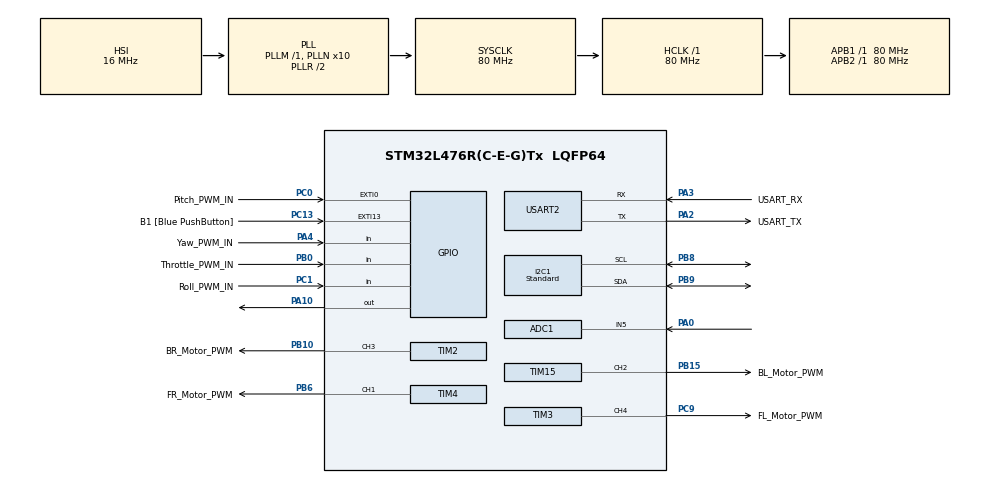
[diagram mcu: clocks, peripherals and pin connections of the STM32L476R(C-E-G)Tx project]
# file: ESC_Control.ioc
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ADC1.Channel-2\#ChannelRegularConversion=ADC_CHANNEL_5
ADC1.NbrOfConversionFlag=1
ADC1.OffsetNumber-2\#ChannelRegularConversion=ADC_OFFSET_NONE
ADC1.Rank-2\#ChannelRegularConversion=1
ADC1.SamplingTime-2\#ChannelRegularConversion=ADC_SAMPLETIME_2CYCLES_5
ADC1.master=1
I2C1.CustomTiming=Disabled
I2C1.I2C_Speed_Mode=I2C_Standard
I2C1.Speed=100
I2C1.Timing=0x10909CEC
Mcu.Family=STM32L4
Mcu.Name=STM32L476R(C-E-G)Tx
Mcu.Package=LQFP64
NVIC.EXTI0_IRQn=true\:0\:0\:false\:false\:true\:true\:true\:true
NVIC.PriorityGroup=NVIC_PRIORITYGROUP_4
NVIC.TIM3_IRQn=true\:0\:0\:false\:false\:true\:true\:true\:true
PA0.Signal=ADCx_IN5
PA10.Signal=GPIO_Output
PA13\ (JTMS-SWDIO).GPIO_Label=TMS
PA13\ (JTMS-SWDIO).Mode=Serial_Wire
PA13\ (JTMS-SWDIO).Signal=SYS_JTMS-SWDIO
PA14\ (JTCK-SWCLK).GPIO_Label=TCK
PA14\ (JTCK-SWCLK).Mode=Serial_Wire
PA14\ (JTCK-SWCLK).Signal=SYS_JTCK-SWCLK
PA2.GPIO_Label=USART_TX
PA2.GPIO_Mode=GPIO_MODE_AF_PP
PA2.GPIO_PuPd=GPIO_NOPULL
PA2.GPIO_Speed=GPIO_SPEED_FREQ_VERY_HIGH
PA2.Mode=Asynchronous
PA2.Signal=USART2_TX
PA3.GPIO_Label=USART_RX
PA3.GPIO_Mode=GPIO_MODE_AF_PP
PA3.GPIO_PuPd=GPIO_NOPULL
PA3.GPIO_Speed=GPIO_SPEED_FREQ_VERY_HIGH
PA3.Mode=Asynchronous
PA3.Signal=USART2_RX
PA4.GPIO_Label=Yaw_PWM_IN
PA4.Signal=GPIO_Input
PB0.GPIO_Label=Throttle_PWM_IN
PB0.Signal=GPIO_Input
PB10.GPIO_Label=BR_Motor_PWM
PB10.Signal=S_TIM2_CH3
PB15.GPIO_Label=BL_Motor_PWM
PB15.Signal=S_TIM15_CH2
PB3\ (JTDO-TRACESWO).GPIO_Label=SWO
PB3\ (JTDO-TRACESWO).Signal=SYS_JTDO-SWO
PB6.GPIO_Label=FR_Motor_PWM
PB6.Signal=S_TIM4_CH1
PB8.GPIO_FM8=SYSCFG_FASTMODEPLUS_PB8
PB8.GPIO_Pu=GPIO_PULLUP
PB8.Mode=I2C
PB8.Signal=I2C1_SCL
PB9.GPIO_FM9=SYSCFG_FASTMODEPLUS_PB9
PB9.GPIO_Pu=GPIO_PULLUP
PB9.Mode=I2C
PB9.Signal=I2C1_SDA
PC0.GPIO_Label=Pitch_PWM_IN
PC0.Signal=GPXTI0
PC1.GPIO_Label=Roll_PWM_IN
PC1.Signal=GPIO_Input
PC13.GPIO_Label=B1 [Blue PushButton]
PC13.GPIO_ModeDefaultEXTI=GPIO_MODE_IT_FALLING
PC13.GPIO_PuPd=GPIO_NOPULL
PC13.Signal=GPXTI13
PC14-OSC32_IN\ (PC14).Mode=LSE-External-Oscillator
PC14-OSC32_IN\ (PC14).Signal=RCC_OSC32_IN
PC15-OSC32_OUT\ (PC15).Mode=LSE-External-Oscillator
PC15-OSC32_OUT\ (PC15).Signal=RCC_OSC32_OUT
PC9.GPIO_Label=FL_Motor_PWM
PC9.Signal=S_TIM3_CH4
PH0-OSC_IN\ (PH0).Signal=RCC_OSC_IN
PH1-OSC_OUT\ (PH1).Signal=RCC_OSC_OUT
ProjectManager.HeapSize=0x200
ProjectManager.StackSize=0x400
ProjectManager.TargetToolchain=STM32CubeIDE
RCC.ADCFreq_Value=64000000
RCC.AHBFreq_Value=80000000
RCC.APB1Freq_Value=80000000
RCC.APB1TimFreq_Value=80000000
RCC.APB2Freq_Value=80000000
RCC.APB2TimFreq_Value=80000000
RCC.CortexFreq_Value=80000000
RCC.HCLKFreq_Value=80000000
RCC.HSE_VALUE=8000000
RCC.HSI_VALUE=16000000
RCC.MSI_VALUE=4000000
RCC.PLLN=10
RCC.PLLSourceVirtual=RCC_PLLSOURCE_HSI
RCC.PREFETCH_ENABLE=1
RCC.SYSCLKFreq_VALUE=80000000
RCC.SYSCLKSource=RCC_SYSCLKSOURCE_PLLCLK
RCC.USBFreq_Value=64000000
RCC.VCOOutputFreq_Value=160000000
SH.ADCx_IN5.0=ADC1_IN5,IN5-Single-Ended
SH.S_TIM15_CH2.0=TIM15_CH2,PWM Generation2 CH2
SH.S_TIM2_CH3.0=TIM2_CH3,PWM Generation3 CH3
SH.S_TIM3_CH4.0=TIM3_CH4,PWM Generation4 CH4
SH.S_TIM4_CH1.0=TIM4_CH1,PWM Generation1 CH1
TIM15.Channel-PWM\ Generation2\ CH2=TIM_CHANNEL_2
TIM15.Period=1600-1
TIM15.Prescaler=1000-1
TIM15.Pulse-PWM\ Generation2\ CH2=145
TIM16.AutoReloadPreload=TIM_AUTORELOAD_PRELOAD_ENABLE
TIM16.Period=3200-1
TIM16.Prescaler=100-1
TIM2.AutoReloadPreload=TIM_AUTORELOAD_PRELOAD_ENABLE
TIM2.Channel-PWM\ Generation3\ CH3=TIM_CHANNEL_3
TIM2.Period=1600-1
TIM2.Prescaler=1000-1
TIM2.Pulse-PWM\ Generation3\ CH3=30
TIM3.AutoReloadPreload=TIM_AUTORELOAD_PRELOAD_ENABLE
TIM3.Channel-PWM\ Generation4\ CH4=TIM_CHANNEL_4
TIM3.Period=1600-1
TIM3.Prescaler=1000-1
TIM3.Pulse-PWM\ Generation4\ CH4=60
TIM4.AutoReloadPreload=TIM_AUTORELOAD_PRELOAD_ENABLE
TIM4.Channel-PWM\ Generation1\ CH1=TIM_CHANNEL_1
TIM4.ClockDivision=TIM_CLOCKDIVISION_DIV1
TIM4.Period=1600-1
TIM4.Prescaler=1000-1
TIM4.Pulse-PWM\ Generation1\ CH1=120
TIM6.AutoReloadPreload=TIM_AUTORELOAD_PRELOAD_DISABLE
TIM6.Period=1600-1
TIM6.Prescaler=1000-1
USART2.VirtualMode-Asynchronous=VM_ASYNC
VP_TIM16_VS_ClockSourceINT.Mode=Enable_Timer
VP_TIM2_VS_ClockSourceINT.Mode=Internal
VP_TIM3_VS_ClockSourceINT.Mode=Internal
VP_TIM6_VS_ClockSourceINT.Mode=Enable_Timer
VP_TIM8_VS_ClockSourceINT.Mode=Internal
VP_TIM8_VS_ClockSourceITR.Mode=TriggerSource_ITR0
VP_TIM8_VS_ControllerModeGated.Mode=Gated Mode
board=NUCLEO-L476RG

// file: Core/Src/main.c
/* USER CODE BEGIN Header */
/**
  ******************************************************************************
  * @file           : main.c
  * @brief          : Main program body
  ******************************************************************************
  * @attention
  *
  * Copyright (c) 2023 STMicroelectronics.
  * All rights reserved.
  *
  * This software is licensed under terms that can be found in the LICENSE file
  * in the root directory of this software component.
  * If no LICENSE file comes with this software, it is provided AS-IS.
  *
  ******************************************************************************
  */
/* USER CODE END Header */
#include "main.h"

/* USER CODE BEGIN Includes */
#include <string.h>
#include <stdio.h>
#include <math.h>
#include "Accelerometer_Interface.h"
/* USER CODE END Includes */

ADC_HandleTypeDef hadc1;

I2C_HandleTypeDef hi2c1;

TIM_HandleTypeDef htim2;
TIM_HandleTypeDef htim3;
TIM_HandleTypeDef htim4;
TIM_HandleTypeDef htim6;
TIM_HandleTypeDef htim8;
TIM_HandleTypeDef htim15;
TIM_HandleTypeDef htim16;

UART_HandleTypeDef huart2;

/* USER CODE BEGIN PV */
int Remote_Throttle_Command, Remote_Roll_Command, Remote_Pitch_Command, Remote_Yaw_Command;
int FL_Motor, FR_Motor, BL_Motor, BR_Motor;

float Positional_Roll, Positional_Pitch, Positional_Yaw;
float AccelErrorX, AccelErrorY, AccelErrorZ;

uint8_t Accel_buffer_in[6];
/* USER CODE END PV */

void SystemClock_Config(void);
static void MX_GPIO_Init(void);
static void MX_USART2_UART_Init(void);
static void MX_ADC1_Init(void);
static void MX_TIM4_Init(void);
static void MX_TIM3_Init(void);
static void MX_TIM2_Init(void);
static void MX_TIM8_Init(void);
static void MX_TIM15_Init(void);
static void MX_TIM6_Init(void);
static void MX_TIM16_Init(void);
static void MX_I2C1_Init(void);
/* USER CODE BEGIN PFP */
void HAL_GPIO_EXTI_Callback(uint16_t GPIO_Pin);
void Get_Pulses(void);
void Send_Pulse(int length);
void MPU_6050_Init(void);
void Get_Pos(void);
void Motor_Adjust_Roll(void);
void Motor_Adjust_Pitch(void);
/* USER CODE END PFP */

int main(void)
{
  /* USER CODE BEGIN 1 */
  char msg[300];
  /* USER CODE END 1 */

  /* MCU Configuration--------------------------------------------------------*/

  /* Reset of all peripherals, Initializes the Flash interface and the Systick. */
  HAL_Init();

  /* Configure the system clock */
  SystemClock_Config();

  /* Initialize all configured peripherals */
  MX_GPIO_Init();
  MX_USART2_UART_Init();
  MX_ADC1_Init();
  MX_TIM4_Init();
  MX_TIM3_Init();
  MX_TIM2_Init();
  MX_TIM8_Init();
  MX_TIM15_Init();
  MX_TIM6_Init();
  MX_TIM16_Init();
  MX_I2C1_Init();
  /* USER CODE BEGIN 2 */

  // Start ADC
  HAL_ADC_Start(&hadc1);

  // Start Timer PWM Generation
  HAL_TIM_PWM_Start(&htim4, TIM_CHANNEL_1);
  HAL_TIM_PWM_Start(&htim15, TIM_CHANNEL_2);
  HAL_TIM_PWM_Start(&htim2, TIM_CHANNEL_3);
  HAL_TIM_PWM_Start(&htim3, TIM_CHANNEL_4);

  // Initialize and zero out Gyro/Accel chips
  MPU_6050_Init();

  /* USER CODE END 2 */

  /* Infinite loop */
  /* USER CODE BEGIN WHILE */
  // Initialize PWM values for motor control
  Remote_Roll_Command = 600;
  Remote_Pitch_Command = 600;
  Remote_Yaw_Command = 600;
  int STM_Throttle_PWM = 80;
  int STM_Roll_PWM = 0;
  int STM_Pitch_PWM = 0;
  int STM_Yaw_PWM = 0;

  while (1)
  {
	/**************************************************/
	/**************** reset Control *******************/
	/**************************************************/

	FL_Motor = 0;
	FR_Motor = 0;
	BL_Motor = 0;
	BR_Motor = 0;

	/**************************************************/
	/**************** Remote_Throttle_Command Control ****************/
	/**************************************************/

	if (Remote_Throttle_Command < 400)
	{
		Remote_Throttle_Command = 400;
	}
	STM_Throttle_PWM = Min_Throttle + ((Remote_Throttle_Command - 400) / 5.7);
	FL_Motor = STM_Throttle_PWM;
	FR_Motor = STM_Throttle_PWM;
	BL_Motor = STM_Throttle_PWM;
	BR_Motor = STM_Throttle_PWM;

	/**************************************************/
	/****************** Remote_Roll_Command Control ******************/
	/**************************************************/

	STM_Roll_PWM = ((Remote_Roll_Command - 400) / 5.7);
	if(STM_Roll_PWM > 40)
	{
		int Temp_Motor_Roll_PWM = STM_Roll_PWM - 40;

		if(STM_Throttle_PWM + Temp_Motor_Roll_PWM < Max_Throttle)
		{
			FL_Motor += (Temp_Motor_Roll_PWM/2);
			BL_Motor += (Temp_Motor_Roll_PWM/2);
		}
		else
		{
			FL_Motor = Max_Throttle;
			BL_Motor = Max_Throttle;
		}
	}
	else if(STM_Roll_PWM < 30)
	{
		int Temp_Motor_Roll_PWM = STM_Roll_PWM - 30;
		Temp_Motor_Roll_PWM *= -1;

		if(STM_Throttle_PWM + Temp_Motor_Roll_PWM < Max_Throttle)
		{
			FR_Motor += (Temp_Motor_Roll_PWM/2);
			BR_Motor += (Temp_Motor_Roll_PWM/2);
		}
		else
		{
			FR_Motor = Max_Throttle;
			BR_Motor = Max_Throttle;
		}

	}

	/**************************************************/
	/****************** Remote_Pitch_Command Control *****************/
	/**************************************************/

	STM_Pitch_PWM = ((Remote_Pitch_Command - 400) / 5.7);
	if(STM_Pitch_PWM > 40)
	{
		int Temp_Motor_Pitch_PWM = STM_Pitch_PWM - 40;

		if(STM_Throttle_PWM + Temp_Motor_Pitch_PWM < Max_Throttle)
		{
			BL_Motor += (Temp_Motor_Pitch_PWM/2);
			BR_Motor += (Temp_Motor_Pitch_PWM/2);
		}
		else
		{
			BL_Motor = Max_Throttle;
			BR_Motor = Max_Throttle;
		}
	}
	else if(STM_Pitch_PWM < 30)
	{
		int Temp_Motor_Pitch_PWM = STM_Pitch_PWM - 30;
		Temp_Motor_Pitch_PWM *= -1;

		if(STM_Throttle_PWM + Temp_Motor_Pitch_PWM < Max_Throttle)
		{
			FL_Motor += (Temp_Motor_Pitch_PWM/2);
			FR_Motor += (Temp_Motor_Pitch_PWM/2);
		}
		else
		{
			FL_Motor = Max_Throttle;
			FR_Motor = Max_Throttle;
		}

	}

	/**************************************************/
	/******************* Remote_Yaw_Command Control ******************/
	/**************************************************/
	STM_Yaw_PWM = ((Remote_Yaw_Command - 400) / 5.7);
	if(STM_Yaw_PWM > 40)
	{
		STM_Yaw_PWM -= 40;
		if(STM_Throttle_PWM + STM_Yaw_PWM < Max_Throttle)
		{
			BL_Motor += STM_Yaw_PWM;
			FR_Motor += STM_Yaw_PWM;
		}
		else
		{
			BL_Motor = Max_Throttle;
			FR_Motor = Max_Throttle;
		}
	}
	else if(STM_Yaw_PWM < 30)
	{
		STM_Yaw_PWM -= 30;
		STM_Yaw_PWM *= -1;
		if(STM_Throttle_PWM + STM_Yaw_PWM < Max_Throttle)
		{
			FL_Motor += STM_Yaw_PWM;
			BR_Motor += STM_Yaw_PWM;
		}
		else
		{
			FL_Motor = Max_Throttle;
			BR_Motor = Max_Throttle;
		}
	}

	/**************************************************/
	/********* Adjust Motor Values per Accel **********/
	/**************************************************/

	if (30 < STM_Roll_PWM && STM_Roll_PWM < 40 && STM_Throttle_PWM > 90)
	{
		Motor_Adjust_Roll();
	}
	if (30 < STM_Pitch_PWM && STM_Pitch_PWM < 40 && STM_Throttle_PWM > 90)
	{
		Motor_Adjust_Pitch();
	}

	/**************************************************/
	/**************** Set Motor Values ****************/
	/**************************************************/

	TIM2->CCR3 = BR_Motor;
	TIM3->CCR4 = FL_Motor;
	TIM4->CCR1 = FR_Motor;
	TIM15->CCR2 = BL_Motor;

	// Convert to string and prints
	Get_Pos();
	//sprintf(msg, "FL: %i FR: %i BL: %i BR: %i Roll: %f.4 Pitch: %f.4\r\n", FL_Motor, FR_Motor, BL_Motor, BR_Motor, Positional_Roll, Positional_Pitch);
	//HAL_UART_Transmit(&huart2, (uint8_t*)msg, strlen(msg), UART_DELAY);

    /* USER CODE END WHILE */

  }
}

void SystemClock_Config(void)
{
  RCC_OscInitTypeDef RCC_OscInitStruct = {0};
  RCC_ClkInitTypeDef RCC_ClkInitStruct = {0};

  /** Configure the main internal regulator output voltage
  */
  if (HAL_PWREx_ControlVoltageScaling(PWR_REGULATOR_VOLTAGE_SCALE1) != HAL_OK)
  {
    Error_Handler();
  }

  /** Initializes the RCC Oscillators according to the specified parameters
  * in the RCC_OscInitTypeDef structure.
  */
  RCC_OscInitStruct.OscillatorType = RCC_OSCILLATORTYPE_HSI;
  RCC_OscInitStruct.HSIState = RCC_HSI_ON;
  RCC_OscInitStruct.HSICalibrationValue = RCC_HSICALIBRATION_DEFAULT;
  RCC_OscInitStruct.PLL.PLLState = RCC_PLL_ON;
  RCC_OscInitStruct.PLL.PLLSource = RCC_PLLSOURCE_HSI;
  RCC_OscInitStruct.PLL.PLLM = 1;
  RCC_OscInitStruct.PLL.PLLN = 10;
  RCC_OscInitStruct.PLL.PLLP = RCC_PLLP_DIV7;
  RCC_OscInitStruct.PLL.PLLQ = RCC_PLLQ_DIV2;
  RCC_OscInitStruct.PLL.PLLR = RCC_PLLR_DIV2;
  if (HAL_RCC_OscConfig(&RCC_OscInitStruct) != HAL_OK)
  {
    Error_Handler();
  }

  /** Initializes the CPU, AHB and APB buses clocks
  */
  RCC_ClkInitStruct.ClockType = RCC_CLOCKTYPE_HCLK|RCC_CLOCKTYPE_SYSCLK
                              |RCC_CLOCKTYPE_PCLK1|RCC_CLOCKTYPE_PCLK2;
  RCC_ClkInitStruct.SYSCLKSource = RCC_SYSCLKSOURCE_PLLCLK;
  RCC_ClkInitStruct.AHBCLKDivider = RCC_SYSCLK_DIV1;
  RCC_ClkInitStruct.APB1CLKDivider = RCC_HCLK_DIV1;
  RCC_ClkInitStruct.APB2CLKDivider = RCC_HCLK_DIV1;

  if (HAL_RCC_ClockConfig(&RCC_ClkInitStruct, FLASH_LATENCY_4) != HAL_OK)
  {
    Error_Handler();
  }
}

static void MX_ADC1_Init(void)
{

  ADC_MultiModeTypeDef multimode = {0};
  ADC_ChannelConfTypeDef sConfig = {0};

  /** Common config
  */
  hadc1.Instance = ADC1;
  hadc1.Init.ClockPrescaler = ADC_CLOCK_ASYNC_DIV1;
  hadc1.Init.Resolution = ADC_RESOLUTION_12B;
  hadc1.Init.DataAlign = ADC_DATAALIGN_RIGHT;
  hadc1.Init.ScanConvMode = ADC_SCAN_DISABLE;
  hadc1.Init.EOCSelection = ADC_EOC_SINGLE_CONV;
  hadc1.Init.LowPowerAutoWait = DISABLE;
  hadc1.Init.ContinuousConvMode = DISABLE;
  hadc1.Init.NbrOfConversion = 1;
  hadc1.Init.DiscontinuousConvMode = DISABLE;
  hadc1.Init.ExternalTrigConv = ADC_SOFTWARE_START;
  hadc1.Init.ExternalTrigConvEdge = ADC_EXTERNALTRIGCONVEDGE_NONE;
  hadc1.Init.DMAContinuousRequests = DISABLE;
  hadc1.Init.Overrun = ADC_OVR_DATA_PRESERVED;
  hadc1.Init.OversamplingMode = DISABLE;
  if (HAL_ADC_Init(&hadc1) != HAL_OK)
  {
    Error_Handler();
  }

  /** Configure the ADC multi-mode
  */
  multimode.Mode = ADC_MODE_INDEPENDENT;
  if (HAL_ADCEx_MultiModeConfigChannel(&hadc1, &multimode) != HAL_OK)
  {
    Error_Handler();
  }

  /** Configure Regular Channel
  */
  sConfig.Channel = ADC_CHANNEL_5;
  sConfig.Rank = ADC_REGULAR_RANK_1;
  sConfig.SamplingTime = ADC_SAMPLETIME_2CYCLES_5;
  sConfig.SingleDiff = ADC_SINGLE_ENDED;
  sConfig.OffsetNumber = ADC_OFFSET_NONE;
  sConfig.Offset = 0;
  if (HAL_ADC_ConfigChannel(&hadc1, &sConfig) != HAL_OK)
  {
    Error_Handler();
  }

}

static void MX_I2C1_Init(void)
{

  hi2c1.Instance = I2C1;
  hi2c1.Init.Timing = 0x10909CEC;
  hi2c1.Init.OwnAddress1 = 0;
  hi2c1.Init.AddressingMode = I2C_ADDRESSINGMODE_7BIT;
  hi2c1.Init.DualAddressMode = I2C_DUALADDRESS_DISABLE;
  hi2c1.Init.OwnAddress2 = 0;
  hi2c1.Init.OwnAddress2Masks = I2C_OA2_NOMASK;
  hi2c1.Init.GeneralCallMode = I2C_GENERALCALL_DISABLE;
  hi2c1.Init.NoStretchMode = I2C_NOSTRETCH_DISABLE;
  if (HAL_I2C_Init(&hi2c1) != HAL_OK)
  {
    Error_Handler();
  }

  /** Configure Analogue filter
  */
  if (HAL_I2CEx_ConfigAnalogFilter(&hi2c1, I2C_ANALOGFILTER_ENABLE) != HAL_OK)
  {
    Error_Handler();
  }

  /** Configure Digital filter
  */
  if (HAL_I2CEx_ConfigDigitalFilter(&hi2c1, 0) != HAL_OK)
  {
    Error_Handler();
  }

}

static void MX_TIM2_Init(void)
{

  TIM_ClockConfigTypeDef sClockSourceConfig = {0};
  TIM_MasterConfigTypeDef sMasterConfig = {0};
  TIM_OC_InitTypeDef sConfigOC = {0};

  htim2.Instance = TIM2;
  htim2.Init.Prescaler = 1000-1;
  htim2.Init.CounterMode = TIM_COUNTERMODE_UP;
  htim2.Init.Period = 1600-1;
  htim2.Init.ClockDivision = TIM_CLOCKDIVISION_DIV1;
  htim2.Init.AutoReloadPreload = TIM_AUTORELOAD_PRELOAD_ENABLE;
  if (HAL_TIM_Base_Init(&htim2) != HAL_OK)
  {
    Error_Handler();
  }
  sClockSourceConfig.ClockSource = TIM_CLOCKSOURCE_INTERNAL;
  if (HAL_TIM_ConfigClockSource(&htim2, &sClockSourceConfig) != HAL_OK)
  {
    Error_Handler();
  }
  if (HAL_TIM_PWM_Init(&htim2) != HAL_OK)
  {
    Error_Handler();
  }
  sMasterConfig.MasterOutputTrigger = TIM_TRGO_RESET;
  sMasterConfig.MasterSlaveMode = TIM_MASTERSLAVEMODE_DISABLE;
  if (HAL_TIMEx_MasterConfigSynchronization(&htim2, &sMasterConfig) != HAL_OK)
  {
    Error_Handler();
  }
  sConfigOC.OCMode = TIM_OCMODE_PWM1;
  sConfigOC.Pulse = 30;
  sConfigOC.OCPolarity = TIM_OCPOLARITY_HIGH;
  sConfigOC.OCFastMode = TIM_OCFAST_DISABLE;
  if (HAL_TIM_PWM_ConfigChannel(&htim2, &sConfigOC, TIM_CHANNEL_3) != HAL_OK)
  {
    Error_Handler();
  }
  HAL_TIM_MspPostInit(&htim2);

}

static void MX_TIM3_Init(void)
{

  TIM_ClockConfigTypeDef sClockSourceConfig = {0};
  TIM_MasterConfigTypeDef sMasterConfig = {0};
  TIM_OC_InitTypeDef sConfigOC = {0};

  htim3.Instance = TIM3;
  htim3.Init.Prescaler = 1000-1;
  htim3.Init.CounterMode = TIM_COUNTERMODE_UP;
  htim3.Init.Period = 1600-1;
  htim3.Init.ClockDivision = TIM_CLOCKDIVISION_DIV1;
  htim3.Init.AutoReloadPreload = TIM_AUTORELOAD_PRELOAD_ENABLE;
  if (HAL_TIM_Base_Init(&htim3) != HAL_OK)
  {
    Error_Handler();
  }
  sClockSourceConfig.ClockSource = TIM_CLOCKSOURCE_INTERNAL;
  if (HAL_TIM_ConfigClockSource(&htim3, &sClockSourceConfig) != HAL_OK)
  {
    Error_Handler();
  }
  if (HAL_TIM_PWM_Init(&htim3) != HAL_OK)
  {
    Error_Handler();
  }
  sMasterConfig.MasterOutputTrigger = TIM_TRGO_RESET;
  sMasterConfig.MasterSlaveMode = TIM_MASTERSLAVEMODE_DISABLE;
  if (HAL_TIMEx_MasterConfigSynchronization(&htim3, &sMasterConfig) != HAL_OK)
  {
    Error_Handler();
  }
  sConfigOC.OCMode = TIM_OCMODE_PWM1;
  sConfigOC.Pulse = 60;
  sConfigOC.OCPolarity = TIM_OCPOLARITY_HIGH;
  sConfigOC.OCFastMode = TIM_OCFAST_DISABLE;
  if (HAL_TIM_PWM_ConfigChannel(&htim3, &sConfigOC, TIM_CHANNEL_4) != HAL_OK)
  {
    Error_Handler();
  }
  HAL_TIM_MspPostInit(&htim3);

}

static void MX_TIM4_Init(void)
{

  TIM_MasterConfigTypeDef sMasterConfig = {0};
  TIM_OC_InitTypeDef sConfigOC = {0};

  htim4.Instance = TIM4;
  htim4.Init.Prescaler = 1000-1;
  htim4.Init.CounterMode = TIM_COUNTERMODE_UP;
  htim4.Init.Period = 1600-1;
  htim4.Init.ClockDivision = TIM_CLOCKDIVISION_DIV1;
  htim4.Init.AutoReloadPreload = TIM_AUTORELOAD_PRELOAD_ENABLE;
  if (HAL_TIM_PWM_Init(&htim4) != HAL_OK)
  {
    Error_Handler();
  }
  sMasterConfig.MasterOutputTrigger = TIM_TRGO_RESET;
  sMasterConfig.MasterSlaveMode = TIM_MASTERSLAVEMODE_DISABLE;
  if (HAL_TIMEx_MasterConfigSynchronization(&htim4, &sMasterConfig) != HAL_OK)
  {
    Error_Handler();
  }
  sConfigOC.OCMode = TIM_OCMODE_PWM1;
  sConfigOC.Pulse = 120;
  sConfigOC.OCPolarity = TIM_OCPOLARITY_HIGH;
  sConfigOC.OCFastMode = TIM_OCFAST_DISABLE;
  if (HAL_TIM_PWM_ConfigChannel(&htim4, &sConfigOC, TIM_CHANNEL_1) != HAL_OK)
  {
    Error_Handler();
  }
  HAL_TIM_MspPostInit(&htim4);

}

static void MX_TIM6_Init(void)
{

  TIM_MasterConfigTypeDef sMasterConfig = {0};

  htim6.Instance = TIM6;
  htim6.Init.Prescaler = 1000-1;
  htim6.Init.CounterMode = TIM_COUNTERMODE_UP;
  htim6.Init.Period = 1600-1;
  htim6.Init.AutoReloadPreload = TIM_AUTORELOAD_PRELOAD_DISABLE;
  if (HAL_TIM_Base_Init(&htim6) != HAL_OK)
  {
    Error_Handler();
  }
  sMasterConfig.MasterOutputTrigger = TIM_TRGO_RESET;
  sMasterConfig.MasterSlaveMode = TIM_MASTERSLAVEMODE_DISABLE;
  if (HAL_TIMEx_MasterConfigSynchronization(&htim6, &sMasterConfig) != HAL_OK)
  {
    Error_Handler();
  }

}

static void MX_TIM8_Init(void)
{

  TIM_ClockConfigTypeDef sClockSourceConfig = {0};
  TIM_SlaveConfigTypeDef sSlaveConfig = {0};
  TIM_MasterConfigTypeDef sMasterConfig = {0};

  htim8.Instance = TIM8;
  htim8.Init.Prescaler = 0;
  htim8.Init.CounterMode = TIM_COUNTERMODE_UP;
  htim8.Init.Period = 65535;
  htim8.Init.ClockDivision = TIM_CLOCKDIVISION_DIV1;
  htim8.Init.RepetitionCounter = 0;
  htim8.Init.AutoReloadPreload = TIM_AUTORELOAD_PRELOAD_DISABLE;
  if (HAL_TIM_Base_Init(&htim8) != HAL_OK)
  {
    Error_Handler();
  }
  sClockSourceConfig.ClockSource = TIM_CLOCKSOURCE_INTERNAL;
  if (HAL_TIM_ConfigClockSource(&htim8, &sClockSourceConfig) != HAL_OK)
  {
    Error_Handler();
  }
  sSlaveConfig.SlaveMode = TIM_SLAVEMODE_GATED;
  sSlaveConfig.InputTrigger = TIM_TS_ITR0;
  if (HAL_TIM_SlaveConfigSynchro(&htim8, &sSlaveConfig) != HAL_OK)
  {
    Error_Handler();
  }
  sMasterConfig.MasterOutputTrigger = TIM_TRGO_RESET;
  sMasterConfig.MasterOutputTrigger2 = TIM_TRGO2_RESET;
  sMasterConfig.MasterSlaveMode = TIM_MASTERSLAVEMODE_DISABLE;
  if (HAL_TIMEx_MasterConfigSynchronization(&htim8, &sMasterConfig) != HAL_OK)
  {
    Error_Handler();
  }

}

static void MX_TIM15_Init(void)
{

  TIM_MasterConfigTypeDef sMasterConfig = {0};
  TIM_OC_InitTypeDef sConfigOC = {0};
  TIM_BreakDeadTimeConfigTypeDef sBreakDeadTimeConfig = {0};

  htim15.Instance = TIM15;
  htim15.Init.Prescaler = 1000-1;
  htim15.Init.CounterMode = TIM_COUNTERMODE_UP;
  htim15.Init.Period = 1600-1;
  htim15.Init.ClockDivision = TIM_CLOCKDIVISION_DIV1;
  htim15.Init.RepetitionCounter = 0;
  htim15.Init.AutoReloadPreload = TIM_AUTORELOAD_PRELOAD_DISABLE;
  if (HAL_TIM_PWM_Init(&htim15) != HAL_OK)
  {
    Error_Handler();
  }
  sMasterConfig.MasterOutputTrigger = TIM_TRGO_RESET;
  sMasterConfig.MasterSlaveMode = TIM_MASTERSLAVEMODE_DISABLE;
  if (HAL_TIMEx_MasterConfigSynchronization(&htim15, &sMasterConfig) != HAL_OK)
  {
    Error_Handler();
  }
  sConfigOC.OCMode = TIM_OCMODE_PWM1;
  sConfigOC.Pulse = 145;
  sConfigOC.OCPolarity = TIM_OCPOLARITY_HIGH;
  sConfigOC.OCNPolarity = TIM_OCNPOLARITY_HIGH;
  sConfigOC.OCFastMode = TIM_OCFAST_DISABLE;
  sConfigOC.OCIdleState = TIM_OCIDLESTATE_RESET;
  sConfigOC.OCNIdleState = TIM_OCNIDLESTATE_RESET;
  if (HAL_TIM_PWM_ConfigChannel(&htim15, &sConfigOC, TIM_CHANNEL_2) != HAL_OK)
  {
    Error_Handler();
  }
  sBreakDeadTimeConfig.OffStateRunMode = TIM_OSSR_DISABLE;
  sBreakDeadTimeConfig.OffStateIDLEMode = TIM_OSSI_DISABLE;
  sBreakDeadTimeConfig.LockLevel = TIM_LOCKLEVEL_OFF;
  sBreakDeadTimeConfig.DeadTime = 0;
  sBreakDeadTimeConfig.BreakState = TIM_BREAK_DISABLE;
  sBreakDeadTimeConfig.BreakPolarity = TIM_BREAKPOLARITY_HIGH;
  sBreakDeadTimeConfig.AutomaticOutput = TIM_AUTOMATICOUTPUT_DISABLE;
  if (HAL_TIMEx_ConfigBreakDeadTime(&htim15, &sBreakDeadTimeConfig) != HAL_OK)
  {
    Error_Handler();
  }
  HAL_TIM_MspPostInit(&htim15);

}

static void MX_TIM16_Init(void)
{

  htim16.Instance = TIM16;
  htim16.Init.Prescaler = 100-1;
  htim16.Init.CounterMode = TIM_COUNTERMODE_UP;
  htim16.Init.Period = 3200-1;
  htim16.Init.ClockDivision = TIM_CLOCKDIVISION_DIV1;
  htim16.Init.RepetitionCounter = 0;
  htim16.Init.AutoReloadPreload = TIM_AUTORELOAD_PRELOAD_ENABLE;
  if (HAL_TIM_Base_Init(&htim16) != HAL_OK)
  {
    Error_Handler();
  }

}

static void MX_USART2_UART_Init(void)
{

  huart2.Instance = USART2;
  huart2.Init.BaudRate = 115200;
  huart2.Init.WordLength = UART_WORDLENGTH_8B;
  huart2.Init.StopBits = UART_STOPBITS_1;
  huart2.Init.Parity = UART_PARITY_NONE;
  huart2.Init.Mode = UART_MODE_TX_RX;
  huart2.Init.HwFlowCtl = UART_HWCONTROL_NONE;
  huart2.Init.OverSampling = UART_OVERSAMPLING_16;
  huart2.Init.OneBitSampling = UART_ONE_BIT_SAMPLE_DISABLE;
  huart2.AdvancedInit.AdvFeatureInit = UART_ADVFEATURE_NO_INIT;
  if (HAL_UART_Init(&huart2) != HAL_OK)
  {
    Error_Handler();
  }

}

static void MX_GPIO_Init(void)
{
  GPIO_InitTypeDef GPIO_InitStruct = {0};

  /* GPIO Ports Clock Enable */
  __HAL_RCC_GPIOC_CLK_ENABLE();
  __HAL_RCC_GPIOH_CLK_ENABLE();
  __HAL_RCC_GPIOA_CLK_ENABLE();
  __HAL_RCC_GPIOB_CLK_ENABLE();

  /*Configure GPIO pin Output Level */
  HAL_GPIO_WritePin(GPIOA, GPIO_PIN_10, GPIO_PIN_RESET);

  /*Configure GPIO pin : B1_Pin */
  GPIO_InitStruct.Pin = B1_Pin;
  GPIO_InitStruct.Mode = GPIO_MODE_IT_FALLING;
  GPIO_InitStruct.Pull = GPIO_NOPULL;
  HAL_GPIO_Init(B1_GPIO_Port, &GPIO_InitStruct);

  /*Configure GPIO pin : Pitch_PWM_IN_Pin */
  GPIO_InitStruct.Pin = Pitch_PWM_IN_Pin;
  GPIO_InitStruct.Mode = GPIO_MODE_IT_RISING;
  GPIO_InitStruct.Pull = GPIO_NOPULL;
  HAL_GPIO_Init(Pitch_PWM_IN_GPIO_Port, &GPIO_InitStruct);

  /*Configure GPIO pin : Roll_PWM_IN_Pin */
  GPIO_InitStruct.Pin = Roll_PWM_IN_Pin;
  GPIO_InitStruct.Mode = GPIO_MODE_INPUT;
  GPIO_InitStruct.Pull = GPIO_NOPULL;
  HAL_GPIO_Init(Roll_PWM_IN_GPIO_Port, &GPIO_InitStruct);

  /*Configure GPIO pin : Yaw_PWM_IN_Pin */
  GPIO_InitStruct.Pin = Yaw_PWM_IN_Pin;
  GPIO_InitStruct.Mode = GPIO_MODE_INPUT;
  GPIO_InitStruct.Pull = GPIO_NOPULL;
  HAL_GPIO_Init(Yaw_PWM_IN_GPIO_Port, &GPIO_InitStruct);

  /*Configure GPIO pin : Throttle_PWM_IN_Pin */
  GPIO_InitStruct.Pin = Throttle_PWM_IN_Pin;
  GPIO_InitStruct.Mode = GPIO_MODE_INPUT;
  GPIO_InitStruct.Pull = GPIO_NOPULL;
  HAL_GPIO_Init(Throttle_PWM_IN_GPIO_Port, &GPIO_InitStruct);

  /*Configure GPIO pin : PA10 */
  GPIO_InitStruct.Pin = GPIO_PIN_10;
  GPIO_InitStruct.Mode = GPIO_MODE_OUTPUT_PP;
  GPIO_InitStruct.Pull = GPIO_NOPULL;
  GPIO_InitStruct.Speed = GPIO_SPEED_FREQ_LOW;
  HAL_GPIO_Init(GPIOA, &GPIO_InitStruct);

  /* EXTI interrupt init*/
  HAL_NVIC_SetPriority(EXTI0_IRQn, 0, 0);
  HAL_NVIC_EnableIRQ(EXTI0_IRQn);

}

/* USER CODE BEGIN 4 */
// Callback: timer has rolled over
void HAL_TIM_PeriodElapsedCallback(TIM_HandleTypeDef *htim)
{
	return;
}

void HAL_GPIO_EXTI_Callback(uint16_t GPIO_Pin)
{
	if(GPIO_Pin == GPIO_PIN_0) {
		Get_Pulses();
	} else {
	   __NOP();
	}
}

void MPU_6050_Init(void)
{
	HAL_StatusTypeDef ret = HAL_ERROR;
	uint8_t data = PM1_No_Reset;
	ret = HAL_I2C_Mem_Write(&hi2c1, MPU_6050_ADDR, POWER_CONFIG_ADDR, I2C_MEMADD_SIZE_8BIT, &data, I2C_MEMADD_SIZE_8BIT, I2C_DELAY);
	if (ret != HAL_OK)
	{
		HAL_UART_Transmit(&huart2, (uint8_t*)"\r\nError Initializing MPU_6050\r\n", strlen("\r\nError Initializing MPU_6050\r\n"), I2C_DELAY);
	}
	else
	{
		data = Gyro_500_Sens;
		ret = HAL_I2C_Mem_Write(&hi2c1, MPU_6050_ADDR, GYRO_CONFIG_ADDR, I2C_MEMADD_SIZE_8BIT, &data, I2C_MEMADD_SIZE_8BIT, I2C_DELAY);
		if (ret != HAL_OK)
		{
			HAL_UART_Transmit(&huart2, (uint8_t*)"\r\nError Initializing Gyro\r\n", strlen("\r\nError Initializing Gyro\r\n"), I2C_DELAY);
		}
		else
		{
			data = Accel_4g_Sens;
			ret = HAL_I2C_Mem_Write(&hi2c1, MPU_6050_ADDR, ACCEL_CONFIG_ADDR, I2C_MEMADD_SIZE_8BIT, &data, I2C_MEMADD_SIZE_8BIT, I2C_DELAY);
			if (ret != HAL_OK)
			{
				HAL_UART_Transmit(&huart2, (uint8_t*)"\r\nError Initializing Accel\r\n", strlen("\r\nError Initializing Accel\r\n"), I2C_DELAY);
			}
			else
			{
				HAL_UART_Transmit(&huart2, (uint8_t*)"\r\nInitialized MPU_6050!\r\n", strlen("\r\nInitialized MPU_6050!\r\n"), I2C_DELAY);
			}
		}
	}

	int x = 0;
	AccelErrorX = 0;
	AccelErrorY = 0;
	AccelErrorZ = 0;
	int16_t dAccX;
	int16_t dAccY;
	int16_t dAccZ;
	while (x < Number_of_Calibrations)
	{
		HAL_I2C_Mem_Read(&hi2c1, MPU_6050_ADDR, ACCEL_ADDR, I2C_MEMADD_SIZE_8BIT, Accel_buffer_in, 6, I2C_DELAY);
		dAccX = ((int16_t)Accel_buffer_in[0] << 8) | (Accel_buffer_in[1]);
		dAccY = ((int16_t)Accel_buffer_in[2] << 8) | (Accel_buffer_in[3]);
		dAccZ = ((int16_t)Accel_buffer_in[4] << 8) | (Accel_buffer_in[5]);

		float AccX = dAccX / Accel_4g_LSB_Divide;
		float AccY = dAccY / Accel_4g_LSB_Divide;
		float AccZ = (dAccZ / Accel_4g_LSB_Divide) - 1;
		AccelErrorX += AccX;
		AccelErrorY += AccY;
		AccelErrorZ += AccZ;
		x++;
	}

	AccelErrorX = AccelErrorX / Number_of_Calibrations;
	AccelErrorY = AccelErrorY / Number_of_Calibrations;
	AccelErrorZ = AccelErrorZ / Number_of_Calibrations;
	return;
}

void Get_Pos(void)
{
	HAL_I2C_Mem_Read(&hi2c1, MPU_6050_ADDR, ACCEL_ADDR, I2C_MEMADD_SIZE_8BIT, Accel_buffer_in, 6, I2C_DELAY);
	int16_t dAccX = ((int16_t)Accel_buffer_in[0] << 8) | (Accel_buffer_in[1]);
	int16_t dAccY = ((int16_t)Accel_buffer_in[2] << 8) | (Accel_buffer_in[3]);
	int16_t dAccZ = ((int16_t)Accel_buffer_in[4] << 8) | (Accel_buffer_in[5]);

	float AccX = (dAccX / Accel_4g_LSB_Divide) - AccelErrorX;
	float AccY = (dAccY / Accel_4g_LSB_Divide) - AccelErrorY;
	float AccZ = (dAccZ / Accel_4g_LSB_Divide) - AccelErrorZ;

	Positional_Pitch = (atan(AccY / sqrt(pow(AccX, 2) + pow(AccZ, 2))) * 180 / M_PI);
	Positional_Roll = (atan(-1 * AccX / sqrt(pow(AccY, 2) + pow(AccZ, 2))) * 180 / M_PI);

	return;
}

void Motor_Adjust_Roll(void)
{
	/**************************************************/
	/****************** Remote_Roll_Command Control ******************/
	/**************************************************/

	if(Positional_Roll > 2)
	{
		FL_Motor -= (Positional_Roll / Adujst_Value);
		BL_Motor -= (Positional_Roll / Adujst_Value);

		if (FL_Motor < Min_Throttle)
		{
			FL_Motor = Min_Throttle;
		}
		if (BL_Motor < Min_Throttle)
		{
			BL_Motor = Min_Throttle;
		}

	}
	else if (Positional_Roll < -2)
	{
		FR_Motor += (Positional_Roll / Adujst_Value);
		BR_Motor += (Positional_Roll / Adujst_Value);

		if (FR_Motor < Min_Throttle)
		{
			FR_Motor = Min_Throttle;
		}
		if (BR_Motor < Min_Throttle)
		{
			BR_Motor = Min_Throttle;
		}

	}

}

void Motor_Adjust_Pitch(void)
{

	/**************************************************/
	/****************** Remote_Pitch_Command Control *****************/
	/**************************************************/

	// Check if the pitch stick is centered
	if(Positional_Pitch > 2)
	{
		FL_Motor -= (Positional_Pitch / Adujst_Value);
		FR_Motor -= (Positional_Pitch / Adujst_Value);

		// Check if the Front Left Motor is out of the Min throttle ranges
		if (FL_Motor < Min_Throttle)
		{
			FL_Motor = Min_Throttle;
		}
		// Check if the Front Right Motor is out of the Min throttle ranges
		if (FR_Motor < Min_Throttle)
		{
			FR_Motor = Min_Throttle;
		}
	}
	if(Positional_Pitch < -2)
	{
		BL_Motor += (Positional_Pitch / Adujst_Value);
		BR_Motor += (Positional_Pitch / Adujst_Value);

		// Check if the Back Left Motor is out of the Min throttle ranges
		if (BL_Motor < Min_Throttle)
		{
			BL_Motor = Min_Throttle;
		}
		// Check if the Back Right Motor is out of the Min throttle ranges
		if (BR_Motor < Min_Throttle)
		{
			BR_Motor = Min_Throttle;
		}
	}
}

void Get_Pulses(void)
{
	TIM16->CNT = 0;
	uint32_t time_count = TIM16->CNT;
	Remote_Throttle_Command = 0;
	Remote_Roll_Command = 0;
	Remote_Pitch_Command = 0;
	Remote_Yaw_Command = 0;
	while ((TIM16->CNT - time_count) < 2400)
	{
		if (HAL_GPIO_ReadPin(GPIOB, GPIO_PIN_0))
		{
			Remote_Throttle_Command += 1;
		}
		else
		{
			Remote_Throttle_Command = Remote_Throttle_Command;
		}
		if (HAL_GPIO_ReadPin(GPIOC, GPIO_PIN_1))
		{
			Remote_Roll_Command += 1;
		}
		else
		{
			Remote_Roll_Command = Remote_Roll_Command;
		}
		if (HAL_GPIO_ReadPin(GPIOC, GPIO_PIN_0))
		{
			Remote_Pitch_Command += 1;
		}
		else
		{
			Remote_Pitch_Command = Remote_Pitch_Command;
		}
		if (HAL_GPIO_ReadPin(GPIOA, GPIO_PIN_4))
		{
			Remote_Yaw_Command += 1;
		}
		else
		{
			Remote_Yaw_Command = Remote_Yaw_Command;
		}
	}
	//char message[100];
	//sprintf(message, "Read Channel\r\n");
	//HAL_UART_Transmit(&huart2, (uint8_t*)message, strlen(message), UART_DELAY);

}

void Send_Pulse(int length)
{
	HAL_GPIO_WritePin(GPIOC, GPIO_PIN_0, 1);
	HAL_Delay(length);
	HAL_GPIO_WritePin(GPIOC, GPIO_PIN_0, 0);
}
/* USER CODE END 4 */

void Error_Handler(void)
{
  __disable_irq();
  while (1)
  {
  }
}
